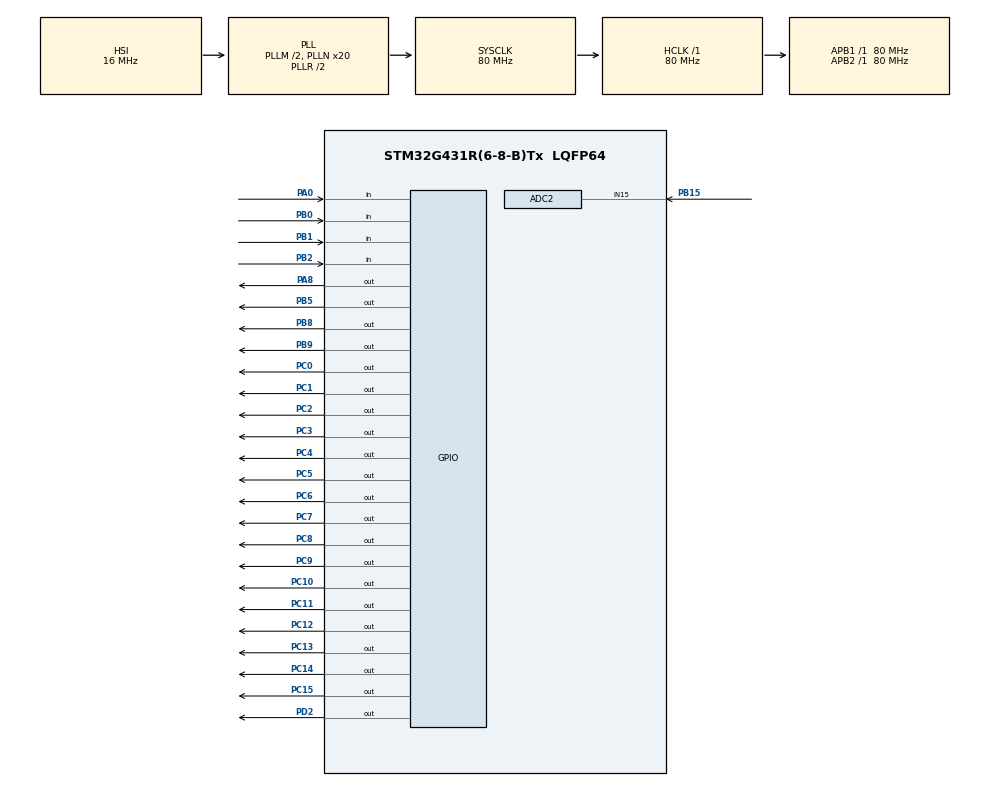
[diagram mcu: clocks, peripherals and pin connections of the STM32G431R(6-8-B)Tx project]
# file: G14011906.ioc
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ADC2.Channel-0\#ChannelRegularConversion=ADC_CHANNEL_15
ADC2.NbrOfConversionFlag=1
ADC2.OffsetNumber-0\#ChannelRegularConversion=ADC_OFFSET_NONE
ADC2.Rank-0\#ChannelRegularConversion=1
ADC2.SamplingTime-0\#ChannelRegularConversion=ADC_SAMPLETIME_2CYCLES_5
Mcu.Family=STM32G4
Mcu.Name=STM32G431R(6-8-B)Tx
Mcu.Package=LQFP64
NVIC.ADC1_2_IRQn=true\:0\:0\:false\:false\:true\:true\:true
NVIC.PriorityGroup=NVIC_PRIORITYGROUP_4
NVIC.TIM4_IRQn=true\:0\:0\:false\:false\:true\:true\:true
PA0.Signal=GPIO_Input
PA8.Signal=GPIO_Output
PB0.Signal=GPIO_Input
PB1.Signal=GPIO_Input
PB15.Mode=IN15-Single-Ended
PB15.Signal=ADC2_IN15
PB2.Signal=GPIO_Input
PB5.Signal=GPIO_Output
PB8-BOOT0.Signal=GPIO_Output
PB9.Signal=GPIO_Output
PC0.Signal=GPIO_Output
PC1.Signal=GPIO_Output
PC10.Signal=GPIO_Output
PC11.Signal=GPIO_Output
PC12.Signal=GPIO_Output
PC13.Signal=GPIO_Output
PC14-OSC32_IN.Signal=GPIO_Output
PC15-OSC32_OUT.Signal=GPIO_Output
PC2.Signal=GPIO_Output
PC3.Signal=GPIO_Output
PC4.Signal=GPIO_Output
PC5.Signal=GPIO_Output
PC6.Signal=GPIO_Output
PC7.Signal=GPIO_Output
PC8.Signal=GPIO_Output
PC9.Signal=GPIO_Output
PD2.Signal=GPIO_Output
PF0-OSC_IN.Mode=HSE-External-Oscillator
PF0-OSC_IN.Signal=RCC_OSC_IN
PF1-OSC_OUT.Mode=HSE-External-Oscillator
PF1-OSC_OUT.Signal=RCC_OSC_OUT
ProjectManager.HeapSize=0x200
ProjectManager.StackSize=0x400
ProjectManager.TargetToolchain=MDK-ARM V5
RCC.ADC12Freq_Value=80000000
RCC.AHBFreq_Value=80000000
RCC.APB1Freq_Value=80000000
RCC.APB1TimFreq_Value=80000000
RCC.APB2Freq_Value=80000000
RCC.APB2TimFreq_Value=80000000
RCC.CortexFreq_Value=80000000
RCC.EXTERNAL_CLOCK_VALUE=12288000
RCC.HCLKFreq_Value=80000000
RCC.HSE_VALUE=24000000
RCC.HSI48_VALUE=48000000
RCC.HSI_VALUE=16000000
RCC.LSE_VALUE=32768
RCC.PLLM=RCC_PLLM_DIV2
RCC.PLLN=20
RCC.SYSCLKFreq_VALUE=80000000
RCC.SYSCLKSource=RCC_SYSCLKSOURCE_PLLCLK
RCC.USBFreq_Value=80000000
RCC.VCOOutputFreq_Value=160000000
TIM4.PeriodNoDither=9999
TIM4.Prescaler=79
VP_SYS_VS_DBSignals.Mode=DisableDeadBatterySignals
VP_TIM4_VS_ClockSourceINT.Mode=Internal
board=custom

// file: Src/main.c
/* USER CODE BEGIN Header */
/**
  ******************************************************************************
  * @file           : main.c
  * @brief          : Main program body
  ******************************************************************************
  * @attention
  *
  * <h2><center>&copy; Copyright (c) 2021 STMicroelectronics.
  * All rights reserved.</center></h2>
  *
  * This software component is licensed by ST under BSD 3-Clause license,
  * the "License"; You may not use this file except in compliance with the
  * License. You may obtain a copy of the License at:
  *                        opensource.org/licenses/BSD-3-Clause
  *
  ******************************************************************************
  */
/* USER CODE END Header */

#include "main.h"
#include "adc.h"
#include "tim.h"
#include "gpio.h"

/* USER CODE BEGIN Includes */
#include "key.h"
#include "led.h"
#include "lcd.h"
#include "stdio.h"
#include "string.h"
#include "i2c_hal.h"
/* USER CODE END Includes */

void SystemClock_Config(void);

/* USER CODE BEGIN 0 */
#define     LCD_MAIN    0
#define     LCD_SET     1
#define     UPPER       0
#define     LOWER       1
#define     NORMAL      2
extern struct keys key[4];
_Bool       lcd_mode    = LCD_MAIN;
float       r37;
u32         adc2_val    = 0;
u8          volt_status = UPPER;
u8          volt_max    = 24,volt_min = 12;
u8          led_upper   = 1,led_lower = 2;
u8          max_com     = 24,min_com  = 12;
u8          upper_com   = 1,lower_com = 2;
u8          set_choice  = 0;
u8          led_ctrl = 0;

void LCD_Proc(void)
{
    u8 lcd_buf[20];
    if(lcd_mode == LCD_MAIN)
    {
        LCD_DisplayStringLine(Line2,(unsigned char *)"        Main       ");
        sprintf((char *)lcd_buf," Volt:%4.2fV    ",r37);
        LCD_DisplayStringLine(Line4,(unsigned char *)lcd_buf);
        if(volt_status == UPPER)
            LCD_DisplayStringLine(Line5,(unsigned char *)" Status:Upper       ");
        else if(volt_status == LOWER)
            LCD_DisplayStringLine(Line5,(unsigned char *)" Status:Lower       ");
        else
            LCD_DisplayStringLine(Line5,(unsigned char *)" Status:Normal       ");
    }
    else
    {
        LCD_DisplayStringLine(Line2,(unsigned char *)"        Setting       ");
        sprintf((char *)lcd_buf," Max Volt:%3.1fV    ",volt_max/10.0f);
        if(set_choice == 0)
        {
            LCD_SetBackColor(Green);
            LCD_DisplayStringLine(Line4,(unsigned char *)lcd_buf);
            LCD_SetBackColor(Black);
        }
        else
            LCD_DisplayStringLine(Line4,(unsigned char *)lcd_buf);
        sprintf((char *)lcd_buf," Min Volt:%3.1fV    ",volt_min/10.0f);
        if(set_choice == 1)
        {
            LCD_SetBackColor(Green);
            LCD_DisplayStringLine(Line5,(unsigned char *)lcd_buf);
            LCD_SetBackColor(Black);
        }
        else
            LCD_DisplayStringLine(Line5,(unsigned char *)lcd_buf);
        sprintf((char *)lcd_buf," Upper:LD%d         ",led_upper);
        if(set_choice == 2)
        {
            LCD_SetBackColor(Green);
            LCD_DisplayStringLine(Line6,(unsigned char *)lcd_buf);
            LCD_SetBackColor(Black);
        }
        else
            LCD_DisplayStringLine(Line6,(unsigned char *)lcd_buf);
        sprintf((char *)lcd_buf," Lower:LD%d         ",led_lower);
        if(set_choice == 3)
        {
            LCD_SetBackColor(Green);
            LCD_DisplayStringLine(Line7,(unsigned char *)lcd_buf);
            LCD_SetBackColor(Black);
        }
        else
            LCD_DisplayStringLine(Line7,(unsigned char *)lcd_buf);
    }
}

void ADC_Proc(void)
{
    HAL_ADC_Start(&hadc2);
    adc2_val = HAL_ADC_GetValue(&hadc2);
    r37 = adc2_val / 4096.0f * 3.3f;
}

void KEY_Proc(void)
{
    if(key[0].key_ok == 1)
    {
        LCD_Clear(Black);
        led_ctrl = 0;
        lcd_mode = !lcd_mode;
        if(lcd_mode == LCD_MAIN)
        {
            if(volt_max > volt_min && led_upper != led_lower)
            {
                max_com   = volt_max;
                min_com   = volt_min;
                upper_com = led_upper;
                lower_com = led_lower;

                HAL_Delay(5);
                E2prom_Write(0x11,max_com);
                E2prom_Write(0x12,min_com);
                E2prom_Write(0x13,upper_com);
                E2prom_Write(0x14,lower_com);
            }
            else
            {
                volt_max  = max_com;
                volt_min  = min_com;
                led_upper = upper_com;
                led_lower = lower_com;
            }
        }
        key[0].key_ok = 0;
    }
    if(key[1].key_ok == 1)
    {
        set_choice = (set_choice + 1) % 4;
        key[1].key_ok = 0;
    }
    if(key[2].key_ok == 1)
    {
        if(lcd_mode == LCD_SET)
        {
            if( set_choice == 0)
            {
                if(volt_max < 33)
                    volt_max += 3 ;
            }
            else if( set_choice == 1)
            {
                if(  volt_min < 33)
                    volt_min += 3;
            }
            else if(set_choice == 2 )
            {
                if(led_upper < 8)
                    led_upper += 1;
            }
            else
            {
                if(led_lower < 8)
                    led_lower += 1;
            }
        }
        key[2].key_ok = 0;
    }
    if(key[3].key_ok == 1)
    {
        if(lcd_mode == LCD_SET)
        {
            if( set_choice == 0)
            {
                if(volt_max > 0)
                    volt_max -= 3;
            }
            else if( set_choice == 1 )
            {
                if(volt_min > 0 )
                    volt_min -= 3;
            }
            else if(set_choice == 2 )
            {
                if(led_upper > 1)
                    led_upper -= 1;
            }
            else
            {
                if(led_lower > 1)
                    led_lower -= 1;
            }
        }
        key[3].key_ok = 0;
    }
}

u32 ledTick = 0;
void LED_Proc(void)
{
    if(uwTick - ledTick < 200) return;
    ledTick = uwTick;
    if(r37 > (volt_max / 10.0f))
    {
        volt_status = 0;
        led_ctrl ^= (0x01 << (upper_com - 1));
    }
    else if(r37 < (volt_min / 10.0f))
    {
        volt_status = 1;
        led_ctrl ^= (0x01 << (lower_com - 1));
    }
    else
    {
        volt_status = 2;
        led_ctrl = 0;
    }
    LED_Ctrl(led_ctrl);
}
/* USER CODE END 0 */

int main(void)
{

  /* MCU Configuration--------------------------------------------------------*/

  /* Reset of all peripherals, Initializes the Flash interface and the Systick. */
  HAL_Init();

  /* Configure the system clock */
  SystemClock_Config();

  /* Initialize all configured peripherals */
  MX_GPIO_Init();
  MX_ADC2_Init();
  MX_TIM4_Init();
  /* USER CODE BEGIN 2 */

	LCD_Init();
  /* USER CODE END 2 */

  /* Infinite loop */
  /* USER CODE BEGIN WHILE */
	I2CInit();
    if(E2Prom_Read(0xf0) != 0xaa)
    {
        E2prom_Write(0xf0,0xaa);
        E2prom_Write(0x11,max_com);
        E2prom_Write(0x12,min_com);
        E2prom_Write(0x13,upper_com);
        E2prom_Write(0x14,lower_com);
    }

    max_com = volt_max  = E2Prom_Read(0x11);
    min_com = volt_min  = E2Prom_Read(0x12);
    upper_com = led_upper = E2Prom_Read(0x13);
    lower_com = led_lower = E2Prom_Read(0x14);

	LCD_Clear(Black);
	LCD_SetBackColor(Black);
	LCD_SetTextColor(White);

    HAL_TIM_Base_Start_IT(&htim4);
  while (1)
  {
    /* USER CODE END WHILE */

    /* USER CODE BEGIN 3 */
      LCD_Proc();
      ADC_Proc();
      KEY_Proc();
      LED_Proc();
  }
  /* USER CODE END 3 */
}

void SystemClock_Config(void)
{
  RCC_OscInitTypeDef RCC_OscInitStruct = {0};
  RCC_ClkInitTypeDef RCC_ClkInitStruct = {0};
  RCC_PeriphCLKInitTypeDef PeriphClkInit = {0};

  /** Configure the main internal regulator output voltage
  */
  HAL_PWREx_ControlVoltageScaling(PWR_REGULATOR_VOLTAGE_SCALE1);
  /** Initializes the CPU, AHB and APB busses clocks
  */
  RCC_OscInitStruct.OscillatorType = RCC_OSCILLATORTYPE_HSI;
  RCC_OscInitStruct.HSIState = RCC_HSI_ON;
  RCC_OscInitStruct.HSICalibrationValue = RCC_HSICALIBRATION_DEFAULT;
  RCC_OscInitStruct.PLL.PLLState = RCC_PLL_ON;
  RCC_OscInitStruct.PLL.PLLSource = RCC_PLLSOURCE_HSI;
  RCC_OscInitStruct.PLL.PLLM = RCC_PLLM_DIV2;
  RCC_OscInitStruct.PLL.PLLN = 20;
  RCC_OscInitStruct.PLL.PLLP = RCC_PLLP_DIV2;
  RCC_OscInitStruct.PLL.PLLQ = RCC_PLLQ_DIV2;
  RCC_OscInitStruct.PLL.PLLR = RCC_PLLR_DIV2;
  if (HAL_RCC_OscConfig(&RCC_OscInitStruct) != HAL_OK)
  {
    Error_Handler();
  }
  /** Initializes the CPU, AHB and APB busses clocks
  */
  RCC_ClkInitStruct.ClockType = RCC_CLOCKTYPE_HCLK|RCC_CLOCKTYPE_SYSCLK
                              |RCC_CLOCKTYPE_PCLK1|RCC_CLOCKTYPE_PCLK2;
  RCC_ClkInitStruct.SYSCLKSource = RCC_SYSCLKSOURCE_PLLCLK;
  RCC_ClkInitStruct.AHBCLKDivider = RCC_SYSCLK_DIV1;
  RCC_ClkInitStruct.APB1CLKDivider = RCC_HCLK_DIV1;
  RCC_ClkInitStruct.APB2CLKDivider = RCC_HCLK_DIV1;

  if (HAL_RCC_ClockConfig(&RCC_ClkInitStruct, FLASH_LATENCY_3) != HAL_OK)
  {
    Error_Handler();
  }
  /** Initializes the peripherals clocks
  */
  PeriphClkInit.PeriphClockSelection = RCC_PERIPHCLK_ADC12;
  PeriphClkInit.Adc12ClockSelection = RCC_ADC12CLKSOURCE_SYSCLK;
  if (HAL_RCCEx_PeriphCLKConfig(&PeriphClkInit) != HAL_OK)
  {
    Error_Handler();
  }
}

void Error_Handler(void)
{
}

/************************ (C) COPYRIGHT STMicroelectronics *****END OF FILE****/
